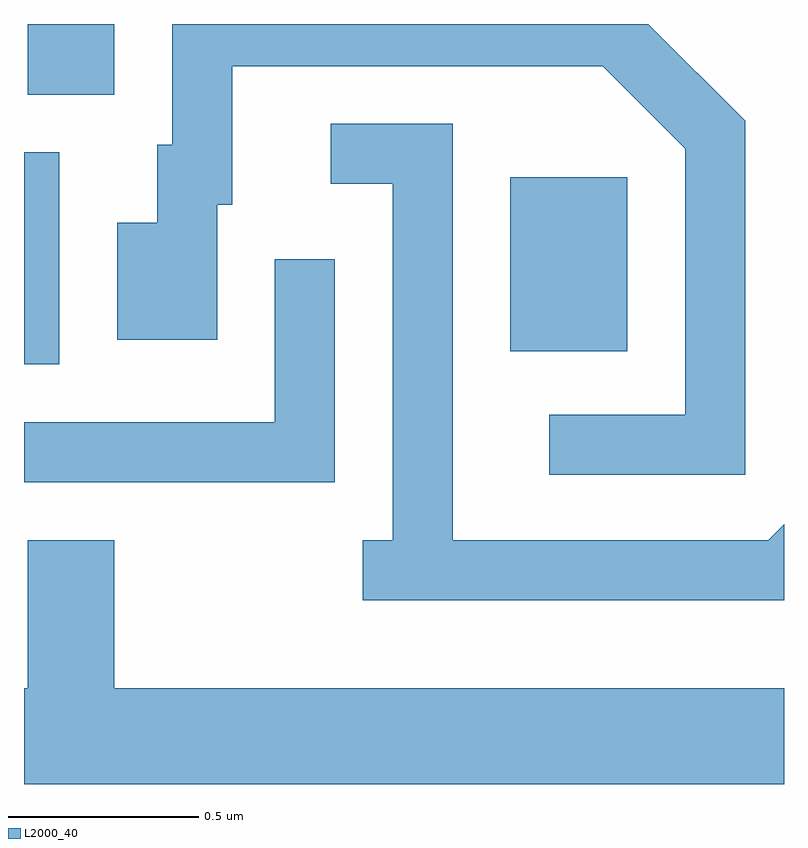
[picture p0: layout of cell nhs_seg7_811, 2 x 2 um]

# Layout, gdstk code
import gdstk
lib = gdstk.Library(unit=1e-6, precision=1e-09)
def R(c, l, rs):  # rectangles x0, y0, x1, y1
    for r in rs: c.add(gdstk.rectangle(r[:2], r[2:], *l))
def P(c, l, *ps):  # polygons
    for p in ps: c.add(gdstk.Polygon(p, *l))
L2000_40 = (2000, 40)

nhs_seg7_811 = lib.new_cell('nhs_seg7_811')
R(nhs_seg7_811, L2000_40, [(190.611,1795.356,190.704,1795.914), (191.891,1795.391,192.199,1795.849), (190.621,1796.066,190.849,1796.252)])
P(nhs_seg7_811, L2000_40, [(192.509,1795.997),(192.254,1796.252),(191.001,1796.252),(191.001,1795.934),(190.961,1795.934),(190.961,1795.729),(190.856,1795.729),(190.856,1795.421),(191.119,1795.421),(191.119,1795.776),(191.159,1795.776),(191.159,1796.141),(192.134,1796.141),(192.351,1795.924),(192.351,1795.224),(191.993,1795.224),(191.993,1795.066),(192.509,1795.066)],
  [(192.611,1794.936),(192.569,1794.894),(191.739,1794.894),(191.739,1795.989),(191.418,1795.989),(191.418,1795.831),(191.581,1795.831),(191.581,1794.894),(191.503,1794.894),(191.503,1794.736),(192.611,1794.736)],
  [(191.429,1795.633),(191.271,1795.633),(191.271,1795.204),(190.611,1795.204),(190.611,1795.046),(191.429,1795.046)],
  [(192.611,1794.504),(190.849,1794.504),(190.849,1794.894),(190.621,1794.894),(190.621,1794.504),(190.611,1794.504),(190.611,1794.252),(192.611,1794.252)])

lib.write_gds('nhs_seg7_811.gds')
